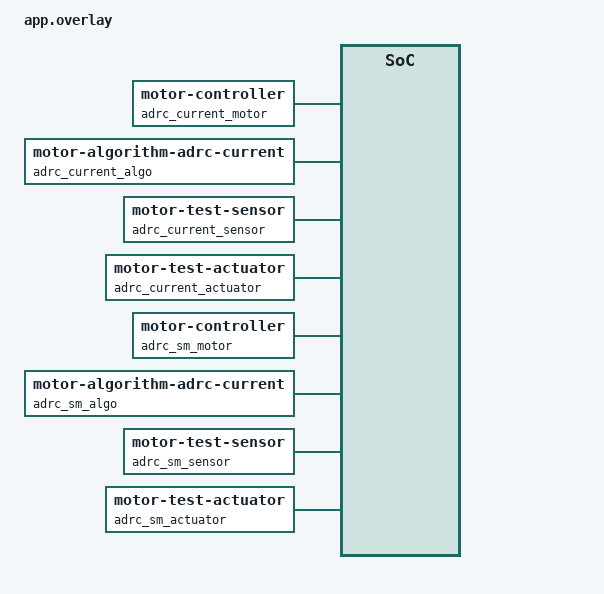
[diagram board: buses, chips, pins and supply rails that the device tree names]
/ {
	adrc_current_motor: motor-controller {
		compatible = "zephyr,motor-controller";
		status = "okay";

		sensor = <&adrc_current_sensor>;
		actuator = <&adrc_current_actuator>;
		algorithm = <&adrc_current_algo>;
	};

	adrc_current_algo: motor-algorithm-adrc-current {
		compatible = "zephyr,motor-algorithm-adrc-current";
		status = "okay";

		adrc-current-kp-milli = <1000>;
		adrc-current-b0-milli = <1000>;
		adrc-current-beta1-milli = <0>;
		adrc-current-beta2-milli = <0>;
		adrc-current-out-min-milli = <(-1000)>;
		adrc-current-out-max-milli = <1000>;
		i-max-ma = <5000>;
	};

	adrc_current_sensor: motor-test-sensor {
		compatible = "zephyr,motor-test-sensor";
		status = "okay";
	};

	adrc_current_actuator: motor-test-actuator {
		compatible = "zephyr,motor-test-actuator";
		status = "okay";
		pwm-frequency = <20000>;
	};

	/* Second motor in sign-magnitude, where one leg is held at zero duty and
	 * the other modulates. That is the mode current sensing reads a clamped
	 * leg in, and the mapping from direction to clamped leg is the contract
	 * it signs its reading by.
	 */
	adrc_sm_motor: motor-controller-sm {
		compatible = "zephyr,motor-controller";
		status = "okay";

		sensor = <&adrc_sm_sensor>;
		actuator = <&adrc_sm_actuator>;
		algorithm = <&adrc_sm_algo>;
	};

	adrc_sm_algo: motor-algorithm-adrc-current-sm {
		compatible = "zephyr,motor-algorithm-adrc-current";
		status = "okay";

		adrc-current-kp-milli = <1000>;
		adrc-current-b0-milli = <1000>;
		adrc-current-beta1-milli = <0>;
		adrc-current-beta2-milli = <0>;
		adrc-current-out-min-milli = <(-1000)>;
		adrc-current-out-max-milli = <1000>;
		i-max-ma = <5000>;
		sign-magnitude;
	};

	adrc_sm_sensor: motor-test-sensor-sm {
		compatible = "zephyr,motor-test-sensor";
		status = "okay";
	};

	adrc_sm_actuator: motor-test-actuator-sm {
		compatible = "zephyr,motor-test-actuator";
		status = "okay";
		pwm-frequency = <20000>;
	};
};
